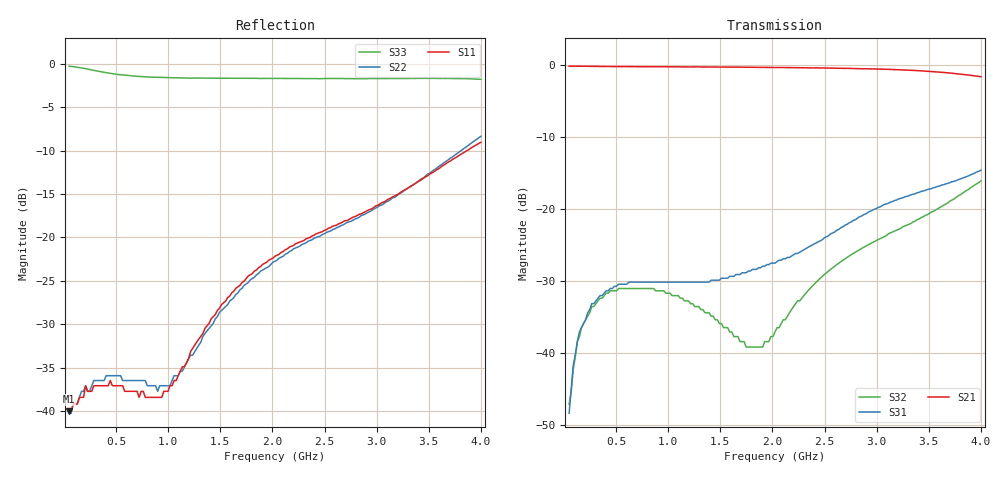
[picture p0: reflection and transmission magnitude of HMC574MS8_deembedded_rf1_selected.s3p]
!Hittite Microwave Corporation
!20 Alpha Road
!Chelmsford, MA 01824
!Tel: 978-250-3343
!Fax: 978-250-3373
!Device: HMC574MS8, DC-3 GHz, GaAs T/R Switch in 8-lead plastic SMT package
!Misc: Vdd = 5V, Port1 = RFC, Port2 = RF1, Port3 = RF2, RF1 ON, Room
# MHZ S MA R 50
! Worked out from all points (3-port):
!   201 points, 50 MHz to 4 GHz, reference 50 ohm
!   strongest paths, dB at 50 MHz, 1.038 GHz, 2.025 GHz, 3.013 GHz, 4 GHz:
!     S21: -0.2, -0.3, -0.4, -0.6, -1.7
!     S31: -48.4, -30.2, -27.5, -19.8, -14.7
!     S32: -47.1, -32.0, -37.1, -24.3, -16.1
!   lowest |S11| = -40.0 dB at 50 MHz (marker M1), VSWR 1.02, Z = 51 + j0.136 ohm
!   |S11| at or under -10 dB: start of sweep to 3.867 GHz
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50  0.01 7.7  0.973 -3.2  0.003803 70.0
    0.974 -3.2  0.009843 11.2  0.004419 65.4
    0.003821 69.8  0.004413 65.5  0.969 -16.8
148.75  0.012 10.0  0.974 -9.0  0.014 67.3
        0.974 -9.0  0.012 16.7  0.013 59.9
        0.014 67.4  0.013 60.0  0.952 -48.2
287  0.014 6.8  0.971 -17.2  0.022 45.8
     0.971 -17.2  0.015 17.0  0.021 36.1
     0.022 45.9  0.021 36.1  0.916 -86.7
484.5  0.014 -8.5  0.968 -28.8  0.029 25.6
       0.968 -28.8  0.016 7.4  0.027 6.6
       0.029 25.7  0.027 6.7  0.873 -128.8
721.5  0.012 -37.7  0.966 -42.7  0.031 8.3
       0.966 -42.7  0.015 -14.0  0.028 -21.0
       0.031 8.4  0.028 -20.9  0.846 -165.3
1333.75  0.028 -162.3  0.962 -78.8  0.031 -8.8
         0.962 -78.8  0.027 -128.0  0.02 -84.9
         0.031 -8.8  0.02 -84.8  0.827 132.2
1748.5  0.058 157.6  0.958 -103.4  0.036 -11.1
        0.958 -103.4  0.054 -165.0  0.011 -156.1
        0.036 -11.0  0.011 -156.0  0.825 99.8
2025  0.078 136.1  0.954 -120.0  0.043 -14.5
      0.954 -120.1  0.073 177.1  0.014 127.7
      0.042 -14.6  0.014 127.6  0.823 79.8
3032.25  0.156 63.2  0.931 177.3  0.103 -47.6
         0.93 177.3  0.153 115.2  0.062 10.1
         0.103 -47.6  0.062 10.1  0.823 12.0
4000  0.353 -9.2  0.823 110.8  0.185 -101.7
      0.823 110.8  0.382 40.9  0.156 -49.8
      0.185 -101.7  0.156 -49.8  0.814 -41.2
